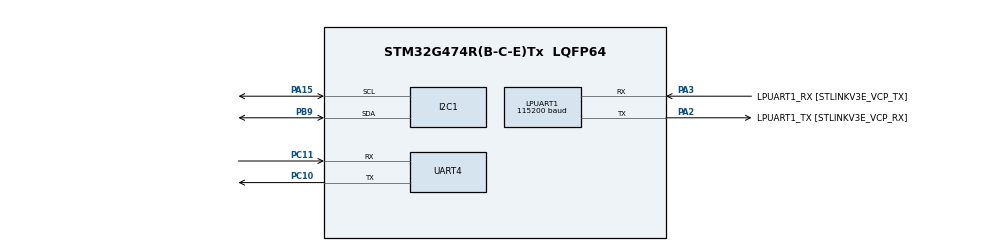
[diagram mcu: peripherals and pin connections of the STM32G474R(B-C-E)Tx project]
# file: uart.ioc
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I2C1.Timing=0x40B285C2
LPUART1.BaudRate=115200
Mcu.Family=STM32G4
Mcu.Name=STM32G474R(B-C-E)Tx
Mcu.Package=LQFP64
NVIC.PriorityGroup=NVIC_PRIORITYGROUP_4
PA13.GPIO_Label=T_SWDIO
PA13.Signal=SYS_JTMS-SWDIO
PA14.GPIO_Label=T_SWCLK
PA14.Signal=SYS_JTCK-SWCLK
PA15.Mode=I2C
PA15.Signal=I2C1_SCL
PA2.GPIO_Label=LPUART1_TX [STLINKV3E_VCP_RX]
PA2.Mode=Asynchronous
PA2.Signal=LPUART1_TX
PA3.GPIO_Label=LPUART1_RX [STLINKV3E_VCP_TX]
PA3.Mode=Asynchronous
PA3.Signal=LPUART1_RX
PB9.Mode=I2C
PB9.Signal=I2C1_SDA
PC10.Mode=Asynchronous
PC10.Signal=UART4_TX
PC11.Mode=Asynchronous
PC11.Signal=UART4_RX
ProjectManager.HeapSize=0x200
ProjectManager.StackSize=0x400
ProjectManager.TargetToolchain=STM32CubeIDE
RCC.ADC12Freq_Value=170000000
RCC.ADC345Freq_Value=170000000
RCC.AHBFreq_Value=170000000
RCC.APB1Freq_Value=170000000
RCC.APB1TimFreq_Value=170000000
RCC.APB2Freq_Value=170000000
RCC.APB2TimFreq_Value=170000000
RCC.CortexFreq_Value=170000000
RCC.EXTERNAL_CLOCK_VALUE=12288000
RCC.HCLKFreq_Value=170000000
RCC.HSE_VALUE=24000000
RCC.HSI48_VALUE=48000000
RCC.HSI_VALUE=16000000
RCC.LSE_VALUE=32768
RCC.PLLM=RCC_PLLM_DIV4
RCC.PLLN=85
RCC.RTCClockSelection=RCC_RTCCLKSOURCE_LSE
RCC.SYSCLKFreq_VALUE=170000000
RCC.SYSCLKSource=RCC_SYSCLKSOURCE_PLLCLK
RCC.USBFreq_Value=170000000
RCC.VCOOutputFreq_Value=340000000
VP_SYS_VS_DBSignals.Mode=DisableDeadBatterySignals
board=NUCLEO-G474RE

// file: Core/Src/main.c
/* USER CODE BEGIN Header */
/**
  ******************************************************************************
  * @file           : main.c
  * @brief          : Main program body
  ******************************************************************************
  * @attention
  *
  * Copyright (c) 2026 STMicroelectronics.
  * All rights reserved.
  *
  * This software is licensed under terms that can be found in the LICENSE file
  * in the root directory of this software component.
  * If no LICENSE file comes with this software, it is provided AS-IS.
  *
  ******************************************************************************
  */
/* USER CODE END Header */
#include "main.h"

/* USER CODE BEGIN Includes */
#include "stm32g4xx_ll_usart.h"
#include "stm32g4xx_ll_i2c.h"
#include <string.h>
/* USER CODE END Includes */

/* USER CODE BEGIN PTD */
typedef enum
{
    REG_INPUT_0 = 0,
    REG_INPUT_1 = 1,
    REG_OUTPUT_0 = 2,
    REG_OUTPUT_1 = 3,
    REG_POLARITY_INV_0 = 4,
    REG_POLARITY_INV_1 = 5,
    REG_CONFIGURATION_0 = 6,
    REG_CONFIGURATION_1 = 7
} PCA9555_REGISTERS;
/* USER CODE END PTD */

/* USER CODE BEGIN PD */
#define PCA9555_ADDRESS   0x40
/* USER CODE END PD */

void SystemClock_Config(void);
static void MX_GPIO_Init(void);
static void MX_LPUART1_UART_Init(void);
static void MX_UART4_Init(void);
static void MX_I2C1_Init(void);
/* USER CODE BEGIN PFP */
// UART Functions
void UART_SendChar(USART_TypeDef *USARTx, char ch);
void UART_SendString(USART_TypeDef *USARTx, const char *str);
char UART_ReceiveChar(USART_TypeDef *USARTx);
void UART_ReceiveLine(USART_TypeDef *USARTx, char *buf, uint16_t max_len);

// PCA9555 Functions
void PCA9555_Write(uint8_t reg, uint8_t value);
uint8_t PCA9555_Read(uint8_t reg);
/* USER CODE END PFP */

int main(void)
{

  /* USER CODE BEGIN 1 */
  char rx_buffer[32];
  /* USER CODE END 1 */

  /* MCU Configuration--------------------------------------------------------*/

  /* Reset of all peripherals, Initializes the Flash interface and the Systick. */
  LL_APB2_GRP1_EnableClock(LL_APB2_GRP1_PERIPH_SYSCFG);
  LL_APB1_GRP1_EnableClock(LL_APB1_GRP1_PERIPH_PWR);

  /* System interrupt init*/
  NVIC_SetPriorityGrouping(NVIC_PRIORITYGROUP_4);

  /** Disable the internal Pull-Up in Dead Battery pins of UCPD peripheral
  */
  LL_PWR_DisableUCPDDeadBattery();

  /* Configure the system clock */
  SystemClock_Config();

  /* Initialize all configured peripherals */
  MX_GPIO_Init();
  MX_LPUART1_UART_Init();
  MX_UART4_Init();
  MX_I2C1_Init();

  /* USER CODE BEGIN 2 */
    UART_SendString(UART4, "\r\n--- MCU BOOTED ---\r\n");

    PCA9555_Write(REG_CONFIGURATION_0, 0x00);
    PCA9555_Write(REG_OUTPUT_0, 0x00);

    UART_SendString(UART4, "System Initialized!\r\nSend 'ON' or 'OFF' to control PCA9555 Port 0:\r\n");

   /* USER CODE END 2 */

  /* Infinite loop */
  /* USER CODE BEGIN WHILE */
  while (1)
  {
    // Ανάγνωση εντολής από το UART4
    UART_ReceiveLine(UART4, rx_buffer, sizeof(rx_buffer));

    if (strcmp(rx_buffer, "ON") == 0)
    {
        // Όλα τα pins του Port 0 ανάβουν (0xFF)
        PCA9555_Write(REG_OUTPUT_0, 0xFF);
        UART_SendString(UART4, "PCA9555 Port 0 is ON (0xFF)\r\n");
    }
    else if (strcmp(rx_buffer, "OFF") == 0)
    {
        // Όλα τα pins του Port 0 σβήνουν (0x00)
        PCA9555_Write(REG_OUTPUT_0, 0x00);
        UART_SendString(UART4, "PCA9555 Port 0 is OFF (0x00)\r\n");
    }
    else
    {
        UART_SendString(UART4, "Invalid Command! Send 'ON' or 'OFF'\r\n");
    }
    /* USER CODE END WHILE */

  }
}

void SystemClock_Config(void)
{
  LL_FLASH_SetLatency(LL_FLASH_LATENCY_4);
  while(LL_FLASH_GetLatency() != LL_FLASH_LATENCY_4)
  {
  }
  LL_PWR_EnableRange1BoostMode();
  LL_RCC_HSI_Enable();
   /* Wait till HSI is ready */
  while(LL_RCC_HSI_IsReady() != 1)
  {
  }

  LL_RCC_HSI_SetCalibTrimming(64);
  LL_RCC_PLL_ConfigDomain_SYS(LL_RCC_PLLSOURCE_HSI, LL_RCC_PLLM_DIV_4, 85, LL_RCC_PLLR_DIV_2);
  LL_RCC_PLL_EnableDomain_SYS();
  LL_RCC_PLL_Enable();
   /* Wait till PLL is ready */
  while(LL_RCC_PLL_IsReady() != 1)
  {
  }

  LL_RCC_SetSysClkSource(LL_RCC_SYS_CLKSOURCE_PLL);
  LL_RCC_SetAHBPrescaler(LL_RCC_SYSCLK_DIV_2);
   /* Wait till System clock is ready */
  while(LL_RCC_GetSysClkSource() != LL_RCC_SYS_CLKSOURCE_STATUS_PLL)
  {
  }

  /* Insure 1us transition state at intermediate medium speed clock*/
  for (__IO uint32_t i = (170 >> 1); i !=0; i--);

  /* Set AHB prescaler*/
  LL_RCC_SetAHBPrescaler(LL_RCC_SYSCLK_DIV_1);
  LL_RCC_SetAPB1Prescaler(LL_RCC_APB1_DIV_1);
  LL_RCC_SetAPB2Prescaler(LL_RCC_APB2_DIV_1);

  LL_Init1msTick(170000000);

  LL_SetSystemCoreClock(170000000);
}

static void MX_I2C1_Init(void)
{

  LL_I2C_InitTypeDef I2C_InitStruct = {0};

  LL_GPIO_InitTypeDef GPIO_InitStruct = {0};

  LL_RCC_SetI2CClockSource(LL_RCC_I2C1_CLKSOURCE_PCLK1);

  LL_AHB2_GRP1_EnableClock(LL_AHB2_GRP1_PERIPH_GPIOA);
  LL_AHB2_GRP1_EnableClock(LL_AHB2_GRP1_PERIPH_GPIOB);
  /**I2C1 GPIO Configuration
  PA15   ------> I2C1_SCL
  PB9   ------> I2C1_SDA
  */
  GPIO_InitStruct.Pin = LL_GPIO_PIN_15;
  GPIO_InitStruct.Mode = LL_GPIO_MODE_ALTERNATE;
  GPIO_InitStruct.Speed = LL_GPIO_SPEED_FREQ_LOW;
  GPIO_InitStruct.OutputType = LL_GPIO_OUTPUT_OPENDRAIN;
  GPIO_InitStruct.Pull = LL_GPIO_PULL_NO;
  GPIO_InitStruct.Alternate = LL_GPIO_AF_4;
  LL_GPIO_Init(GPIOA, &GPIO_InitStruct);

  GPIO_InitStruct.Pin = LL_GPIO_PIN_9;
  GPIO_InitStruct.Mode = LL_GPIO_MODE_ALTERNATE;
  GPIO_InitStruct.Speed = LL_GPIO_SPEED_FREQ_LOW;
  GPIO_InitStruct.OutputType = LL_GPIO_OUTPUT_OPENDRAIN;
  GPIO_InitStruct.Pull = LL_GPIO_PULL_NO;
  GPIO_InitStruct.Alternate = LL_GPIO_AF_4;
  LL_GPIO_Init(GPIOB, &GPIO_InitStruct);

  /* Peripheral clock enable */
  LL_APB1_GRP1_EnableClock(LL_APB1_GRP1_PERIPH_I2C1);

  /** I2C Initialization
  */
  I2C_InitStruct.PeripheralMode = LL_I2C_MODE_I2C;
  I2C_InitStruct.Timing = 0x40B285C2;
  I2C_InitStruct.AnalogFilter = LL_I2C_ANALOGFILTER_ENABLE;
  I2C_InitStruct.DigitalFilter = 0;
  I2C_InitStruct.OwnAddress1 = 0;
  I2C_InitStruct.TypeAcknowledge = LL_I2C_ACK;
  I2C_InitStruct.OwnAddrSize = LL_I2C_OWNADDRESS1_7BIT;
  LL_I2C_Init(I2C1, &I2C_InitStruct);
  LL_I2C_EnableAutoEndMode(I2C1);
  LL_I2C_SetOwnAddress2(I2C1, 0, LL_I2C_OWNADDRESS2_NOMASK);
  LL_I2C_DisableOwnAddress2(I2C1);
  LL_I2C_DisableGeneralCall(I2C1);
  LL_I2C_EnableClockStretching(I2C1);

}

static void MX_LPUART1_UART_Init(void)
{

  LL_LPUART_InitTypeDef LPUART_InitStruct = {0};

  LL_GPIO_InitTypeDef GPIO_InitStruct = {0};

  LL_RCC_SetLPUARTClockSource(LL_RCC_LPUART1_CLKSOURCE_PCLK1);

  /* Peripheral clock enable */
  LL_APB1_GRP2_EnableClock(LL_APB1_GRP2_PERIPH_LPUART1);

  LL_AHB2_GRP1_EnableClock(LL_AHB2_GRP1_PERIPH_GPIOA);
  /**LPUART1 GPIO Configuration
  PA2   ------> LPUART1_TX
  PA3   ------> LPUART1_RX
  */
  GPIO_InitStruct.Pin = LPUART1_TX_Pin;
  GPIO_InitStruct.Mode = LL_GPIO_MODE_ALTERNATE;
  GPIO_InitStruct.Speed = LL_GPIO_SPEED_FREQ_LOW;
  GPIO_InitStruct.OutputType = LL_GPIO_OUTPUT_PUSHPULL;
  GPIO_InitStruct.Pull = LL_GPIO_PULL_NO;
  GPIO_InitStruct.Alternate = LL_GPIO_AF_12;
  LL_GPIO_Init(LPUART1_TX_GPIO_Port, &GPIO_InitStruct);

  GPIO_InitStruct.Pin = LPUART1_RX_Pin;
  GPIO_InitStruct.Mode = LL_GPIO_MODE_ALTERNATE;
  GPIO_InitStruct.Speed = LL_GPIO_SPEED_FREQ_LOW;
  GPIO_InitStruct.OutputType = LL_GPIO_OUTPUT_PUSHPULL;
  GPIO_InitStruct.Pull = LL_GPIO_PULL_NO;
  GPIO_InitStruct.Alternate = LL_GPIO_AF_12;
  LL_GPIO_Init(LPUART1_RX_GPIO_Port, &GPIO_InitStruct);

  LPUART_InitStruct.PrescalerValue = LL_LPUART_PRESCALER_DIV1;
  LPUART_InitStruct.BaudRate = 115200;
  LPUART_InitStruct.DataWidth = LL_LPUART_DATAWIDTH_8B;
  LPUART_InitStruct.StopBits = LL_LPUART_STOPBITS_1;
  LPUART_InitStruct.Parity = LL_LPUART_PARITY_NONE;
  LPUART_InitStruct.TransferDirection = LL_LPUART_DIRECTION_TX_RX;
  LPUART_InitStruct.HardwareFlowControl = LL_LPUART_HWCONTROL_NONE;
  LL_LPUART_Init(LPUART1, &LPUART_InitStruct);
  LL_LPUART_SetTXFIFOThreshold(LPUART1, LL_LPUART_FIFOTHRESHOLD_1_8);
  LL_LPUART_SetRXFIFOThreshold(LPUART1, LL_LPUART_FIFOTHRESHOLD_1_8);
  LL_LPUART_DisableFIFO(LPUART1);

  LL_LPUART_Enable(LPUART1);

  /* Polling LPUART1 initialisation */
  while((!(LL_LPUART_IsActiveFlag_TEACK(LPUART1))) || (!(LL_LPUART_IsActiveFlag_REACK(LPUART1))))
  {
  }

}

static void MX_UART4_Init(void)
{

  LL_USART_InitTypeDef USART_InitStruct = {0};

  LL_GPIO_InitTypeDef GPIO_InitStruct = {0};

  LL_RCC_SetUARTClockSource(LL_RCC_UART4_CLKSOURCE_PCLK1);

  /* Peripheral clock enable */
  LL_APB1_GRP1_EnableClock(LL_APB1_GRP1_PERIPH_UART4);

  LL_AHB2_GRP1_EnableClock(LL_AHB2_GRP1_PERIPH_GPIOC);
  /**UART4 GPIO Configuration
  PC10   ------> UART4_TX
  PC11   ------> UART4_RX
  */
  GPIO_InitStruct.Pin = LL_GPIO_PIN_10;
  GPIO_InitStruct.Mode = LL_GPIO_MODE_ALTERNATE;
  GPIO_InitStruct.Speed = LL_GPIO_SPEED_FREQ_LOW;
  GPIO_InitStruct.OutputType = LL_GPIO_OUTPUT_PUSHPULL;
  GPIO_InitStruct.Pull = LL_GPIO_PULL_NO;
  GPIO_InitStruct.Alternate = LL_GPIO_AF_5;
  LL_GPIO_Init(GPIOC, &GPIO_InitStruct);

  GPIO_InitStruct.Pin = LL_GPIO_PIN_11;
  GPIO_InitStruct.Mode = LL_GPIO_MODE_ALTERNATE;
  GPIO_InitStruct.Speed = LL_GPIO_SPEED_FREQ_LOW;
  GPIO_InitStruct.OutputType = LL_GPIO_OUTPUT_PUSHPULL;
  GPIO_InitStruct.Pull = LL_GPIO_PULL_NO;
  GPIO_InitStruct.Alternate = LL_GPIO_AF_5;
  LL_GPIO_Init(GPIOC, &GPIO_InitStruct);

  USART_InitStruct.PrescalerValue = LL_USART_PRESCALER_DIV1;
  USART_InitStruct.BaudRate = 115200;
  USART_InitStruct.DataWidth = LL_USART_DATAWIDTH_8B;
  USART_InitStruct.StopBits = LL_USART_STOPBITS_1;
  USART_InitStruct.Parity = LL_USART_PARITY_NONE;
  USART_InitStruct.TransferDirection = LL_USART_DIRECTION_TX_RX;
  USART_InitStruct.HardwareFlowControl = LL_USART_HWCONTROL_NONE;
  USART_InitStruct.OverSampling = LL_USART_OVERSAMPLING_16;
  LL_USART_Init(UART4, &USART_InitStruct);
  LL_USART_DisableFIFO(UART4);
  LL_USART_SetTXFIFOThreshold(UART4, LL_USART_FIFOTHRESHOLD_1_8);
  LL_USART_SetRXFIFOThreshold(UART4, LL_USART_FIFOTHRESHOLD_1_8);
  LL_USART_ConfigAsyncMode(UART4);

  LL_USART_Enable(UART4);

  /* Polling UART4 initialisation */
  while((!(LL_USART_IsActiveFlag_TEACK(UART4))) || (!(LL_USART_IsActiveFlag_REACK(UART4))))
  {
  }

}

static void MX_GPIO_Init(void)
{

  /* GPIO Ports Clock Enable */
  LL_AHB2_GRP1_EnableClock(LL_AHB2_GRP1_PERIPH_GPIOA);
  LL_AHB2_GRP1_EnableClock(LL_AHB2_GRP1_PERIPH_GPIOC);
  LL_AHB2_GRP1_EnableClock(LL_AHB2_GRP1_PERIPH_GPIOB);

}

/* USER CODE BEGIN 4 */

// --- UART DRIVERS ---

void UART_SendChar(USART_TypeDef *USARTx, char ch)
{
    while (!LL_USART_IsActiveFlag_TXE(USARTx));
    LL_USART_TransmitData8(USARTx, (uint8_t)ch);
}

void UART_SendString(USART_TypeDef *USARTx, const char *str)
{
    while (*str) {
        UART_SendChar(USARTx, *str++);
    }
    while (!LL_USART_IsActiveFlag_TC(USARTx));
}

char UART_ReceiveChar(USART_TypeDef *USARTx)
{
    while (!LL_USART_IsActiveFlag_RXNE(USARTx));
    return (char)LL_USART_ReceiveData8(USARTx);
}

void UART_ReceiveLine(USART_TypeDef *USARTx, char *buf, uint16_t max_len)
{
    uint16_t idx = 0;
    while (1) {
        char c = UART_ReceiveChar(USARTx);

        // Echo χαρακτήρα
        UART_SendChar(USARTx, c);

        if (c == '\r' || c == '\n') {
            if (idx > 0) {
                buf[idx] = '\0';
                UART_SendString(USARTx, "\r\n");
                break;
            }
            continue;
        }

        if (idx < max_len - 1) {
            buf[idx++] = c;
        }
    }
}

// --- PCA9555 DRIVERS ---

void PCA9555_Write(uint8_t reg, uint8_t value)
{
    LL_I2C_HandleTransfer(
        I2C1,
        PCA9555_ADDRESS,
        LL_I2C_ADDRSLAVE_7BIT,
        2,
        LL_I2C_MODE_AUTOEND,
        LL_I2C_GENERATE_START_WRITE
    );

    while (!LL_I2C_IsActiveFlag_TXIS(I2C1));
    LL_I2C_TransmitData8(I2C1, reg);

    while (!LL_I2C_IsActiveFlag_TXIS(I2C1));
    LL_I2C_TransmitData8(I2C1, value);

    while (!LL_I2C_IsActiveFlag_STOP(I2C1));
    LL_I2C_ClearFlag_STOP(I2C1);
}

uint8_t PCA9555_Read(uint8_t reg)
{
    uint8_t received_data = 0;

    // First phase: Select register
    LL_I2C_HandleTransfer(
        I2C1,
        PCA9555_ADDRESS,
        LL_I2C_ADDRSLAVE_7BIT,
        1,
        LL_I2C_MODE_SOFTEND,
        LL_I2C_GENERATE_START_WRITE
    );

    while (!LL_I2C_IsActiveFlag_TXIS(I2C1));
    LL_I2C_TransmitData8(I2C1, reg);

    while (!LL_I2C_IsActiveFlag_TC(I2C1));

    // Second phase: Repeated START and read one byte
    LL_I2C_HandleTransfer(
        I2C1,
        PCA9555_ADDRESS,
        LL_I2C_ADDRSLAVE_7BIT,
        1,
        LL_I2C_MODE_AUTOEND,
        LL_I2C_GENERATE_START_READ
    );

    while (!LL_I2C_IsActiveFlag_RXNE(I2C1));
    received_data = LL_I2C_ReceiveData8(I2C1);

    while (!LL_I2C_IsActiveFlag_STOP(I2C1));
    LL_I2C_ClearFlag_STOP(I2C1);

    return received_data;
}

/* USER CODE END 4 */

void Error_Handler(void)
{
  __disable_irq();
  while (1)
  {
  }
}
